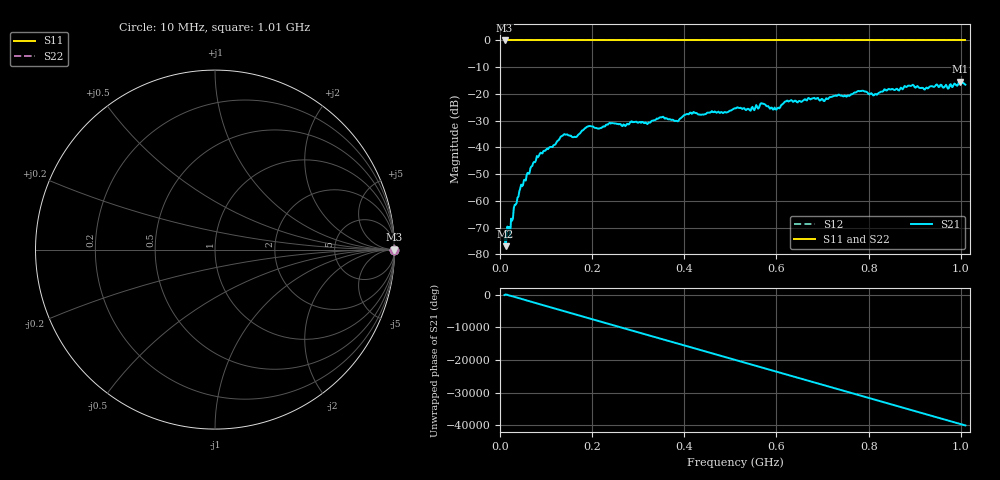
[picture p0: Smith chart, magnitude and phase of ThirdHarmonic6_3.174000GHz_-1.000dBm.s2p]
! 8/17/2025 9:34:02 AM
! C:\ANRITSUVNA\TEMP\TEMP.S2P
! CHANNEL.1
! TR.MEASUREMENT
! RAW.DATA
! RF.CORRECTION.OFF
! AVERAGING.OFF
! IF.BANDWIDTH: 5KHZ
! SWEEPTYPE:  FREQ.SWEEP(Linear)
! Reference Plane Port Info
! PORT:  PORT1  PORT2
! DISTANCE:  0  m  0  m
! TIME:  0  s  0  s
! PHASE.OFFSET:  0  deg.  0  deg.
! LOSS:  0  dB  0  dB
! REF.LOSS:  0  dB  0  dB
! REF.FREQ:  0  Hz  0  Hz
! Power Info
! POWER:  -20  dBm  -20  dBm
! EFF.POWER:  -20  dBm  -20  dBm
! SOURCE.ATTEN:  0  dB  0  dB
! TEST.ATTEN:  0  dB  0  dB
# GHZ S RI R 50.0
! FREQ.GHZ  S11RE  S11IM  S21RE  S21IM  S12RE  S12IM  S22RE  S22IM
!; PortSelection: Port_12
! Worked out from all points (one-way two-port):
!   501 points, 10 MHz to 1.01 GHz, reference 50 ohm
!   highest |S21| = -15.43 dB at 998 MHz (marker M1); lowest = -76.9 dB at 12 MHz (marker M2)
!   lowest |S11| = 0.0 dB at 10 MHz (marker M3)
!   |S11| at or under -10 dB: nowhere
!   |S22| runs from 0.0 to 0.0 dB; largest |S21 - S12| = 1.1
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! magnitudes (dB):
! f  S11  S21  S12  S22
! 10 MHz  0.0  -73.3  0.0  0.0
! 12 MHz  0.0  -76.9  0.0  0.0
! 24 MHz  0.0  -66.6  0.0  0.0
! 34 MHz  0.0  -61.4  0.0  0.0
! 46 MHz  0.0  -53.9  0.0  0.0
! 84 MHz  0.0  -43.3  0.0  0.0
! 136 MHz  0.0  -35.6  0.0  0.0
! 162 MHz  0.0  -36.0  0.0  0.0
! 178 MHz  0.0  -33.7  0.0  0.0
! 344 MHz  0.0  -29.2  0.0  0.0
! 384 MHz  0.0  -30.1  0.0  0.0
! 416 MHz  0.0  -27.4  0.0  0.0
! 510 MHz  0.0  -25.4  0.0  0.0
! 548 MHz  0.0  -24.8  0.0  0.0
! 570 MHz  0.0  -23.6  0.0  0.0
! 596 MHz  0.0  -25.1  0.0  0.0
! 622 MHz  0.0  -22.6  0.0  0.0
! 678 MHz  0.0  -21.7  0.0  0.0
! 814 MHz  0.0  -20.0  0.0  0.0
! 844 MHz  0.0  -18.1  0.0  0.0
! 998 MHz  0.0  -15.4  0.0  0.0
! 1.01 GHz  0.0  -16.5  0.0  0.0
